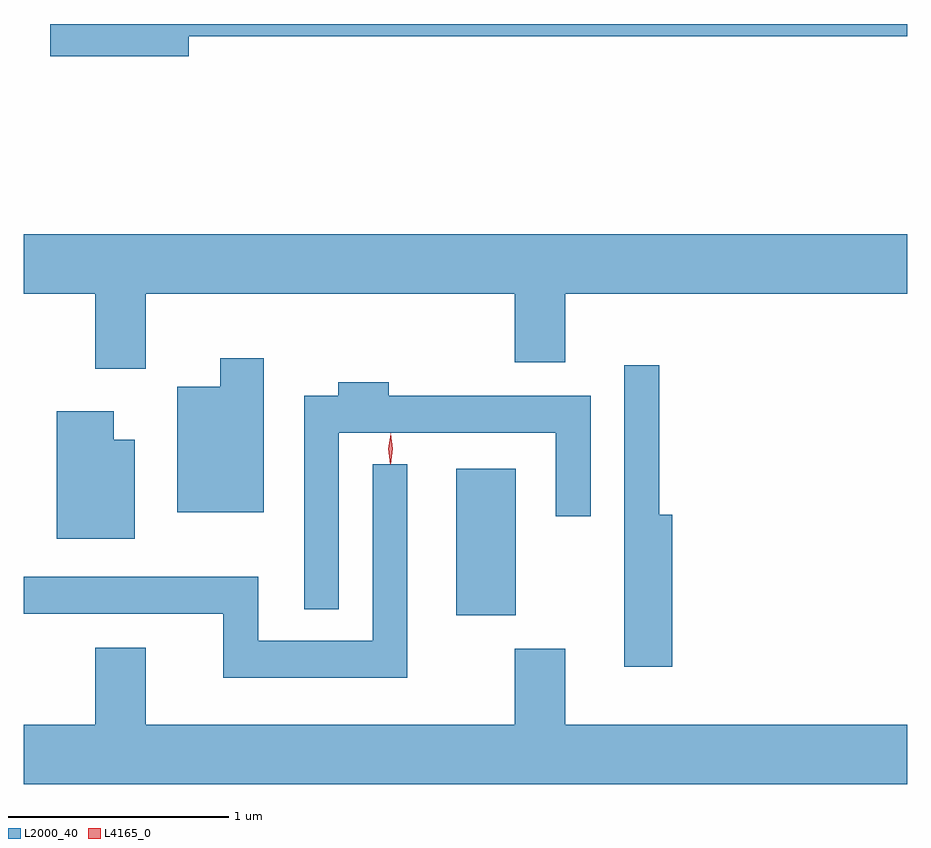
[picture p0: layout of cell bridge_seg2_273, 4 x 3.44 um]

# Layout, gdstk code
import gdstk
lib = gdstk.Library(unit=1e-6, precision=1e-09)
def R(c, l, rs):  # rectangles x0, y0, x1, y1
    for r in rs: c.add(gdstk.rectangle(r[:2], r[2:], *l))
def P(c, l, *ps):  # polygons
    for p in ps: c.add(gdstk.Polygon(p, *l))
L2000_40 = (2000, 40)
L4165_0 = (4165, 0)

bridge_seg2_273 = lib.new_cell('bridge_seg2_273')
R(bridge_seg2_273, L2000_40, [(641.866,1097.921,642.134,1098.584)])
P(bridge_seg2_273, L2000_40, [(640.654,1100.541),(643.907,1100.541),(643.907,1100.597),(640.026,1100.597),(640.026,1100.451),(640.654,1100.451)],
  [(640.459,1099.376),(642.131,1099.376),(642.131,1099.066),(642.359,1099.066),(642.359,1099.376),(643.907,1099.376),(643.907,1099.644),(639.907,1099.644),(639.907,1099.376),(640.231,1099.376),(640.231,1099.036),(640.459,1099.036)],
  [(640.994,1099.084),(640.796,1099.084),(640.796,1098.954),(640.601,1098.954),(640.601,1098.386),(640.994,1098.386)],
  [(642.844,1098.374),(642.784,1098.374),(642.784,1099.053),(642.626,1099.053),(642.626,1097.686),(642.844,1097.686)],
  [(641.334,1098.746),(642.316,1098.746),(642.316,1098.368),(642.474,1098.368),(642.474,1098.914),(641.559,1098.914),(641.559,1098.974),(641.331,1098.974),(641.331,1098.914),(641.176,1098.914),(641.176,1097.948),(641.334,1097.948)],
  [(640.409,1098.714),(640.314,1098.714),(640.314,1098.844),(640.056,1098.844),(640.056,1098.266),(640.409,1098.266)],
  [(641.644,1098.603),(641.486,1098.603),(641.486,1097.804),(640.969,1097.804),(640.969,1098.094),(639.907,1098.094),(639.907,1097.926),(640.811,1097.926),(640.811,1097.636),(641.644,1097.636)],
  [(643.907,1097.424),(642.359,1097.424),(642.359,1097.769),(642.131,1097.769),(642.131,1097.424),(640.459,1097.424),(640.459,1097.774),(640.231,1097.774),(640.231,1097.424),(639.907,1097.424),(639.907,1097.156),(643.907,1097.156)])
P(bridge_seg2_273, L4165_0, [(641.568,1098.603),(641.567,1098.604),(641.558,1098.673),(641.568,1098.742),(641.569,1098.743),(641.569,1098.742),(641.578,1098.673),(641.568,1098.604)])

lib.write_gds('bridge_seg2_273.gds')
